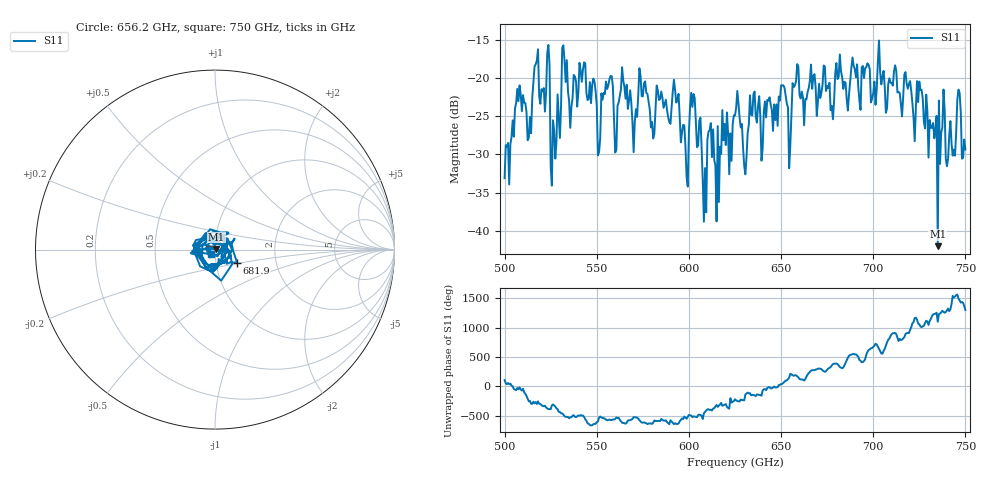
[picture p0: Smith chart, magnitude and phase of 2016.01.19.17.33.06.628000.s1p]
!Created with skrf (http://scikit-rf.org).
# GHz S RI R 50.0
!freq ReS11 ImS11
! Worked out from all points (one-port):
!   401 points, 500 GHz to 750 GHz, reference 50 ohm
!   lowest |S11| = -42.0 dB at 735 GHz (marker M1), VSWR 1.02, Z = 50.7 + j0.296 ohm
!   |S11| at or under -10 dB: start of sweep to end of sweep
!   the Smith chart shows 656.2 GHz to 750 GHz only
!   S11 on the Smith chart (normalised r, x): 656.2 GHz: 0.83, -0.02; 681.9 GHz: 1.27, -0.19; 750 GHz: 0.95, -0.04
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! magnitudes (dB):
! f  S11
! 500 GHz  -33.1
! 507.5 GHz  -23.0
! 513.8 GHz  -25.1
! 516.9 GHz  -18.2
! 523.1 GHz  -16.8
! 526.2 GHz  -25.5
! 531.2 GHz  -16.0
! 542.5 GHz  -18.9
! 551.2 GHz  -29.7
! 556.2 GHz  -21.0
! 562.5 GHz  -22.4
! 593.8 GHz  -22.8
! 598.8 GHz  -33.0
! 602.5 GHz  -22.1
! 608.1 GHz  -38.8
! 611.2 GHz  -26.8
! 615 GHz  -38.8
! 625 GHz  -24.9
! 630.6 GHz  -32.6
! 634.4 GHz  -24.9
! 656.2 GHz  -20.7
! 681.9 GHz  -16.9
! 687.5 GHz  -20.4
! 718.8 GHz  -21.4
! 735 GHz  -42.0
! 743.8 GHz  -29.4
! 746.2 GHz  -21.5
! 750 GHz  -29.3
